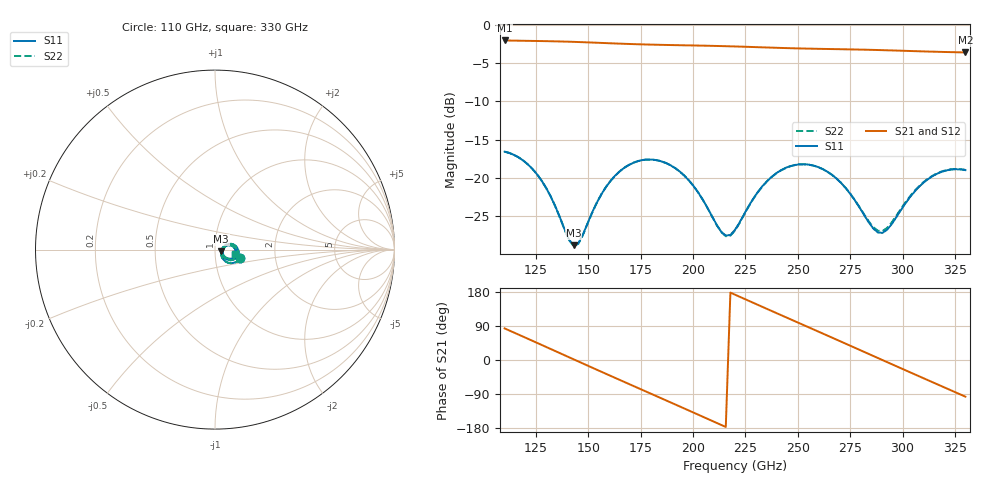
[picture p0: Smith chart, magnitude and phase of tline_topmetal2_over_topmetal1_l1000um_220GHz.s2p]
#  GHZ S DB R 50
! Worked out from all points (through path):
!   101 points, 110 GHz to 330 GHz, reference 50 ohm
!   highest |S21| = -2.05 dB at 110 GHz (marker M1); lowest = -3.6 dB at 330 GHz (marker M2)
!   group delay of S21, straight-line fit = 6.82 ps
!   lowest |S11| = -28.8 dB at 143 GHz (marker M3), VSWR 1.08, Z = 53.6 - j1.07 ohm
!   |S11| at or under -10 dB: start of sweep to end of sweep
!   |S22| runs from -28.9 to -16.6 dB; largest |S21 - S12| = 9.1e-14
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110  -16.58 -18.7  -2.05 83.3  -2.05 83.3  -16.57 -18.9
118.8  -17.72 -34.1  -2.09 61.7  -2.09 61.7  -17.71 -34.5
127.6  -20.33 -46.6  -2.13 40.0  -2.13 40.0  -20.34 -47.0
143  -28.82 -16.0  -2.23 1.7  -2.23 1.7  -28.92 -16.3
147.4  -27.39 11.4  -2.27 -9.3  -2.27 -9.3  -27.46 11.5
156.2  -22.14 23.2  -2.37 -31.0  -2.37 -31.0  -22.15 23.3
167.2  -18.68 10.6  -2.49 -58.0  -2.49 -58.0  -18.67 10.5
176  -17.67 -3.8  -2.56 -79.5  -2.56 -79.5  -17.66 -4.0
184.8  -17.84 -18.6  -2.62 -101.0  -2.62 -101.0  -17.83 -18.8
193.6  -19.18 -31.8  -2.67 -122.6  -2.67 -122.6  -19.16 -32.1
204.6  -22.85 -40.4  -2.73 -149.6  -2.73 -149.6  -22.85 -40.9
213.4  -27.03 -23.8  -2.78 -171.3  -2.78 -171.3  -27.09 -24.4
220  -26.80 6.9  -2.83 172.4  -2.83 172.4  -26.90 6.8
228.8  -22.68 20.6  -2.91 150.7  -2.91 150.7  -22.73 20.6
239.8  -19.37 11.0  -3.01 123.8  -3.01 123.8  -19.40 11.1
257.4  -18.39 -16.0  -3.13 80.9  -3.13 80.9  -18.40 -15.8
266.2  -19.58 -28.6  -3.17 59.3  -3.17 59.3  -19.58 -28.3
277.2  -22.92 -36.7  -3.23 32.4  -3.23 32.4  -22.88 -36.2
288.2  -27.13 -14.5  -3.30 5.3  -3.30 5.3  -26.91 -14.2
294.8  -26.05 10.2  -3.35 -10.9  -3.35 -10.9  -25.83 9.5
314.6  -19.73 9.0  -3.51 -59.3  -3.51 -59.3  -19.67 7.9
330  -18.99 -12.8  -3.61 -96.7  -3.61 -96.7  -18.96 -13.9
